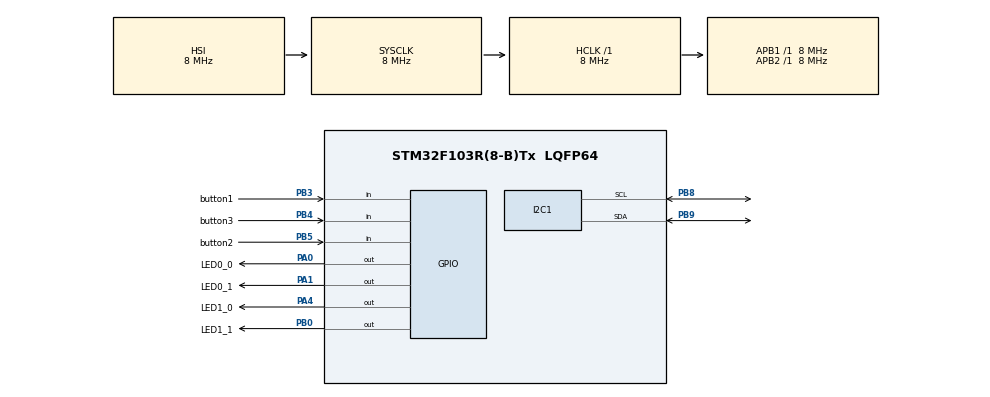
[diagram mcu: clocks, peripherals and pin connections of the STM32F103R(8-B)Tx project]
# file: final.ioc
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Mcu.Family=STM32F1
Mcu.Name=STM32F103R(8-B)Tx
Mcu.Package=LQFP64
NVIC.I2C1_ER_IRQn=true\:0\:0\:false\:false\:true\:true\:true\:true
NVIC.I2C1_EV_IRQn=true\:0\:0\:false\:false\:true\:true\:true\:true
NVIC.PriorityGroup=NVIC_PRIORITYGROUP_4
NVIC.TIM2_IRQn=true\:0\:0\:false\:false\:true\:true\:true\:true
PA0-WKUP.GPIO_Label=LED0_0
PA0-WKUP.Signal=GPIO_Output
PA1.GPIO_Label=LED0_1
PA1.Signal=GPIO_Output
PA13.Mode=Serial_Wire
PA13.Signal=SYS_JTMS-SWDIO
PA14.Mode=Serial_Wire
PA14.Signal=SYS_JTCK-SWCLK
PA2.GPIO_Label=USART_TX
PA2.GPIO_Mode=GPIO_MODE_AF_PP
PA2.GPIO_PuPd=GPIO_NOPULL
PA2.GPIO_Speed=GPIO_SPEED_FREQ_LOW
PA2.Signal=USART2_TX
PA3.GPIO_Label=USART_RX
PA3.GPIO_Mode=GPIO_MODE_AF_PP
PA3.GPIO_PuPd=GPIO_NOPULL
PA3.GPIO_Speed=GPIO_SPEED_FREQ_LOW
PA3.Signal=USART2_RX
PA4.GPIO_Label=LED1_0
PA4.Signal=GPIO_Output
PB0.GPIO_Label=LED1_1
PB0.Signal=GPIO_Output
PB3.GPIO_Label=button1
PB3.GPIO_PuPd=GPIO_PULLUP
PB3.Signal=GPIO_Input
PB4.GPIO_Label=button3
PB4.GPIO_PuPd=GPIO_PULLUP
PB4.Signal=GPIO_Input
PB5.GPIO_Label=button2
PB5.GPIO_PuPd=GPIO_PULLUP
PB5.Signal=GPIO_Input
PB8.Mode=I2C
PB8.Signal=I2C1_SCL
PB9.Mode=I2C
PB9.Signal=I2C1_SDA
PC14-OSC32_IN.Signal=RCC_OSC32_IN
PC15-OSC32_OUT.Signal=RCC_OSC32_OUT
PD0-OSC_IN.Signal=RCC_OSC_IN
PD1-OSC_OUT.Signal=RCC_OSC_OUT
ProjectManager.HeapSize=0x200
ProjectManager.StackSize=0x400
ProjectManager.TargetToolchain=STM32CubeIDE
RCC.AHBFreq_Value=8000000
RCC.APB1Freq_Value=8000000
RCC.APB1TimFreq_Value=8000000
RCC.APB2Freq_Value=8000000
RCC.APB2TimFreq_Value=8000000
RCC.HCLKFreq_Value=8000000
RCC.SYSCLKFreq_VALUE=8000000
RCC.USBFreq_Value=8000000
TIM2.Period=9
TIM2.Prescaler=7999
VP_TIM2_VS_ClockSourceINT.Mode=Internal
board=NUCLEO-F103RB

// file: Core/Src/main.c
/* USER CODE BEGIN Header */
/**
  ******************************************************************************
  * @file           : main.c
  * @brief          : Main program body
  ******************************************************************************
  * @attention
  *
  * <h2><center>&copy; Copyright (c) 2024 STMicroelectronics.
  * All rights reserved.</center></h2>
  *
  * This software component is licensed by ST under BSD 3-Clause license,
  * the "License"; You may not use this file except in compliance with the
  * License. You may obtain a copy of the License at:
  *                        opensource.org/licenses/BSD-3-Clause
  *
  ******************************************************************************
  */
/* USER CODE END Header */
#include "main.h"

/* USER CODE BEGIN Includes */
#include "scheduler.h"
#include "global.h"
#include "button.h"
#include "time_set.h"
#include "FSM_automatic.h"
#include "FSM_manual.h"
/* USER CODE END Includes */

I2C_HandleTypeDef hi2c1;

TIM_HandleTypeDef htim2;

void SystemClock_Config(void);
static void MX_GPIO_Init(void);
static void MX_TIM2_Init(void);
static void MX_I2C1_Init(void);

int main(void)
{

  /* MCU Configuration--------------------------------------------------------*/

  /* Reset of all peripherals, Initializes the Flash interface and the Systick. */
  HAL_Init();

  /* Configure the system clock */
  SystemClock_Config();

  /* Initialize all configured peripherals */
  MX_GPIO_Init();
  MX_TIM2_Init();
  MX_I2C1_Init();
  /* USER CODE BEGIN 2 */
  SCH_init();
  initial();
  lcd_init();
//  lcd_clear();
  HAL_TIM_Base_Start_IT (& htim2 );
  SCH_addTask(runTimer, 0, 1, 0);
  SCH_addTask(buttonReading, 1, 2, 1);
  SCH_addTask(automaticRun, 2, 2, 2);
  SCH_addTask(manual_run, 3, 2, 3);
  SCH_addTask(automatic_display, 2, 2, 4);
//  SCH_addTask(task1, 1, 1, 5);
  /* USER CODE END 2 */

  /* Infinite loop */
  /* USER CODE BEGIN WHILE */

//  lcd_put_cur(0, 0);
//  lcd_send_string("HELLO");
  while (1)
  {
	  buffer[0]++;
	  buffer[1]++;
	  HAL_Delay(1000);
	  SCH_dispatchTask();
//	  if(timer_flag[1] == 1){
//		  HAL_GPIO_TogglePin(LED1_1_GPIO_Port, LED1_1_Pin);
//		  HAL_GPIO_TogglePin(LED1_0_GPIO_Port, LED1_0_Pin);
//		  setTimer(1, timer_dura[1]);
//	  }

    /* USER CODE END WHILE */

  }
}

void SystemClock_Config(void)
{
  RCC_OscInitTypeDef RCC_OscInitStruct = {0};
  RCC_ClkInitTypeDef RCC_ClkInitStruct = {0};

  /** Initializes the RCC Oscillators according to the specified parameters
  * in the RCC_OscInitTypeDef structure.
  */
  RCC_OscInitStruct.OscillatorType = RCC_OSCILLATORTYPE_HSI;
  RCC_OscInitStruct.HSIState = RCC_HSI_ON;
  RCC_OscInitStruct.HSICalibrationValue = RCC_HSICALIBRATION_DEFAULT;
  RCC_OscInitStruct.PLL.PLLState = RCC_PLL_NONE;
  if (HAL_RCC_OscConfig(&RCC_OscInitStruct) != HAL_OK)
  {
    Error_Handler();
  }

  /** Initializes the CPU, AHB and APB buses clocks
  */
  RCC_ClkInitStruct.ClockType = RCC_CLOCKTYPE_HCLK|RCC_CLOCKTYPE_SYSCLK
                              |RCC_CLOCKTYPE_PCLK1|RCC_CLOCKTYPE_PCLK2;
  RCC_ClkInitStruct.SYSCLKSource = RCC_SYSCLKSOURCE_HSI;
  RCC_ClkInitStruct.AHBCLKDivider = RCC_SYSCLK_DIV1;
  RCC_ClkInitStruct.APB1CLKDivider = RCC_HCLK_DIV1;
  RCC_ClkInitStruct.APB2CLKDivider = RCC_HCLK_DIV1;

  if (HAL_RCC_ClockConfig(&RCC_ClkInitStruct, FLASH_LATENCY_0) != HAL_OK)
  {
    Error_Handler();
  }
}

static void MX_I2C1_Init(void)
{

  hi2c1.Instance = I2C1;
  hi2c1.Init.ClockSpeed = 100000;
  hi2c1.Init.DutyCycle = I2C_DUTYCYCLE_2;
  hi2c1.Init.OwnAddress1 = 0;
  hi2c1.Init.AddressingMode = I2C_ADDRESSINGMODE_7BIT;
  hi2c1.Init.DualAddressMode = I2C_DUALADDRESS_DISABLE;
  hi2c1.Init.OwnAddress2 = 0;
  hi2c1.Init.GeneralCallMode = I2C_GENERALCALL_DISABLE;
  hi2c1.Init.NoStretchMode = I2C_NOSTRETCH_DISABLE;
  if (HAL_I2C_Init(&hi2c1) != HAL_OK)
  {
    Error_Handler();
  }

}

static void MX_TIM2_Init(void)
{

  TIM_ClockConfigTypeDef sClockSourceConfig = {0};
  TIM_MasterConfigTypeDef sMasterConfig = {0};

  htim2.Instance = TIM2;
  htim2.Init.Prescaler = 7999;
  htim2.Init.CounterMode = TIM_COUNTERMODE_UP;
  htim2.Init.Period = 9;
  htim2.Init.ClockDivision = TIM_CLOCKDIVISION_DIV1;
  htim2.Init.AutoReloadPreload = TIM_AUTORELOAD_PRELOAD_DISABLE;
  if (HAL_TIM_Base_Init(&htim2) != HAL_OK)
  {
    Error_Handler();
  }
  sClockSourceConfig.ClockSource = TIM_CLOCKSOURCE_INTERNAL;
  if (HAL_TIM_ConfigClockSource(&htim2, &sClockSourceConfig) != HAL_OK)
  {
    Error_Handler();
  }
  sMasterConfig.MasterOutputTrigger = TIM_TRGO_RESET;
  sMasterConfig.MasterSlaveMode = TIM_MASTERSLAVEMODE_DISABLE;
  if (HAL_TIMEx_MasterConfigSynchronization(&htim2, &sMasterConfig) != HAL_OK)
  {
    Error_Handler();
  }

}

static void MX_GPIO_Init(void)
{
  GPIO_InitTypeDef GPIO_InitStruct = {0};

  /* GPIO Ports Clock Enable */
  __HAL_RCC_GPIOC_CLK_ENABLE();
  __HAL_RCC_GPIOD_CLK_ENABLE();
  __HAL_RCC_GPIOA_CLK_ENABLE();
  __HAL_RCC_GPIOB_CLK_ENABLE();

  /*Configure GPIO pin Output Level */
  HAL_GPIO_WritePin(GPIOA, LED0_0_Pin|LED0_1_Pin|LED1_0_Pin, GPIO_PIN_RESET);

  /*Configure GPIO pin Output Level */
  HAL_GPIO_WritePin(LED1_1_GPIO_Port, LED1_1_Pin, GPIO_PIN_RESET);

  /*Configure GPIO pins : LED0_0_Pin LED0_1_Pin LED1_0_Pin */
  GPIO_InitStruct.Pin = LED0_0_Pin|LED0_1_Pin|LED1_0_Pin;
  GPIO_InitStruct.Mode = GPIO_MODE_OUTPUT_PP;
  GPIO_InitStruct.Pull = GPIO_NOPULL;
  GPIO_InitStruct.Speed = GPIO_SPEED_FREQ_LOW;
  HAL_GPIO_Init(GPIOA, &GPIO_InitStruct);

  /*Configure GPIO pins : USART_TX_Pin USART_RX_Pin */
  GPIO_InitStruct.Pin = USART_TX_Pin|USART_RX_Pin;
  GPIO_InitStruct.Mode = GPIO_MODE_AF_PP;
  GPIO_InitStruct.Speed = GPIO_SPEED_FREQ_LOW;
  HAL_GPIO_Init(GPIOA, &GPIO_InitStruct);

  /*Configure GPIO pin : LED1_1_Pin */
  GPIO_InitStruct.Pin = LED1_1_Pin;
  GPIO_InitStruct.Mode = GPIO_MODE_OUTPUT_PP;
  GPIO_InitStruct.Pull = GPIO_NOPULL;
  GPIO_InitStruct.Speed = GPIO_SPEED_FREQ_LOW;
  HAL_GPIO_Init(LED1_1_GPIO_Port, &GPIO_InitStruct);

  /*Configure GPIO pins : button1_Pin button3_Pin button2_Pin */
  GPIO_InitStruct.Pin = button1_Pin|button3_Pin|button2_Pin;
  GPIO_InitStruct.Mode = GPIO_MODE_INPUT;
  GPIO_InitStruct.Pull = GPIO_PULLUP;
  HAL_GPIO_Init(GPIOB, &GPIO_InitStruct);

}

/* USER CODE BEGIN 4 */

void HAL_TIM_PeriodElapsedCallback ( TIM_HandleTypeDef * htim )
{

	SCH_updateTask();

}
/* USER CODE END 4 */

void Error_Handler(void)
{
  __disable_irq();
  while (1)
  {
  }
}
